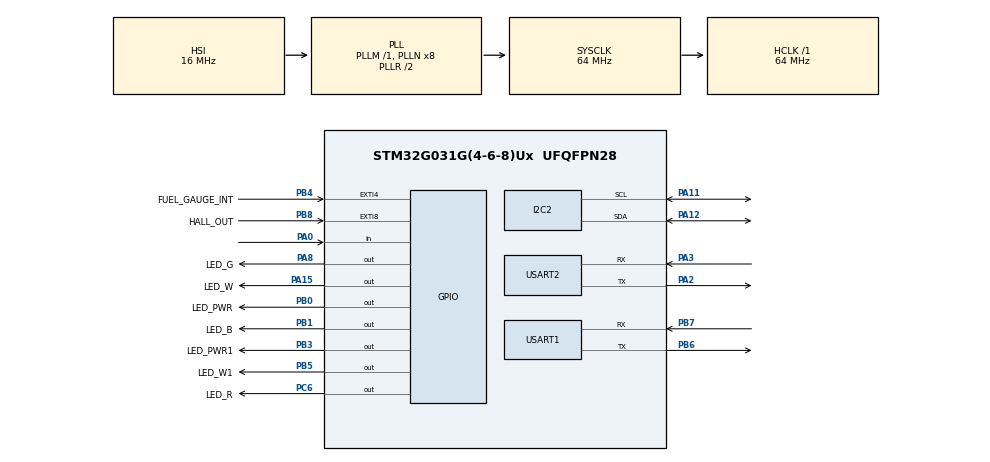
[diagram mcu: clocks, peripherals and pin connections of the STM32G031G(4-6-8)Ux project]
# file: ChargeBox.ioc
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I2C2.Timing=0x10707DBC
Mcu.Family=STM32G0
Mcu.Name=STM32G031G(4-6-8)Ux
Mcu.Package=UFQFPN28
NVIC.EXTI4_15_IRQn=true\:0\:0\:false\:false\:true\:true\:true
NVIC.TIM2_IRQn=true\:0\:0\:false\:false\:true\:true\:true
NVIC.USART2_IRQn=true\:0\:0\:false\:false\:true\:true\:true
PA0.GPIO_PuPd=GPIO_PULLUP
PA0.Signal=GPIO_Input
PA11\ [PA9].GPIO_Pu=GPIO_PULLUP
PA11\ [PA9].Mode=I2C
PA11\ [PA9].Signal=I2C2_SCL
PA12\ [PA10].GPIO_Pu=GPIO_PULLUP
PA12\ [PA10].Mode=I2C
PA12\ [PA10].Signal=I2C2_SDA
PA13.Mode=Serial_Wire
PA13.Signal=SYS_SWDIO
PA14-BOOT0.Mode=Serial_Wire
PA14-BOOT0.Signal=SYS_SWCLK
PA15.GPIO_Label=LED_W
PA15.PinState=GPIO_PIN_SET
PA15.Signal=GPIO_Output
PA2.GPIO_PuPd=GPIO_PULLUP
PA2.Mode=Asynchronous
PA2.Signal=USART2_TX
PA3.GPIO_PuPd=GPIO_PULLUP
PA3.Mode=Asynchronous
PA3.Signal=USART2_RX
PA8.GPIO_Label=LED_G
PA8.PinState=GPIO_PIN_SET
PA8.Signal=GPIO_Output
PB0.GPIO_Label=LED_PWR
PB0.GPIO_PuPd=GPIO_PULLUP
PB0.PinState=GPIO_PIN_SET
PB0.Signal=GPIO_Output
PB1.GPIO_Label=LED_B
PB1.PinState=GPIO_PIN_SET
PB1.Signal=GPIO_Output
PB3.GPIO_Label=LED_PWR1
PB3.GPIO_PuPd=GPIO_PULLUP
PB3.PinState=GPIO_PIN_SET
PB3.Signal=GPIO_Output
PB4.GPIO_Label=FUEL_GAUGE_INT
PB4.GPIO_ModeDefaultEXTI=GPIO_MODE_IT_RISING_FALLING
PB4.GPIO_PuPd=GPIO_PULLUP
PB4.Signal=GPXTI4
PB5.GPIO_Label=LED_W1
PB5.PinState=GPIO_PIN_SET
PB5.Signal=GPIO_Output
PB6.Mode=Asynchronous
PB6.Signal=USART1_TX
PB7.Mode=Asynchronous
PB7.Signal=USART1_RX
PB8.GPIO_Label=HALL_OUT
PB8.GPIO_ModeDefaultEXTI=GPIO_MODE_IT_RISING_FALLING
PB8.Signal=GPXTI8
PC6.GPIO_Label=LED_R
PC6.PinState=GPIO_PIN_SET
PC6.Signal=GPIO_Output
ProjectManager.HeapSize=0x200
ProjectManager.StackSize=0x400
ProjectManager.TargetToolchain=MDK-ARM V5.32
RCC.ADCFreq_Value=64000000
RCC.AHBFreq_Value=64000000
RCC.CortexFreq_Value=64000000
RCC.EXTERNAL_CLOCK_VALUE=12288000
RCC.HCLKFreq_Value=64000000
RCC.HSE_VALUE=8000000
RCC.HSI_VALUE=16000000
RCC.LSE_VALUE=32768
RCC.SYSCLKFreq_VALUE=64000000
RCC.SYSCLKSource=RCC_SYSCLKSOURCE_PLLCLK
RCC.VCOOutputFreq_Value=128000000
TIM2.AutoReloadPreload=TIM_AUTORELOAD_PRELOAD_ENABLE
TIM2.Period=9
TIM2.Prescaler=63999
USART1.VirtualMode-Asynchronous=VM_ASYNC
USART2.VirtualMode-Asynchronous=VM_ASYNC
VP_TIM2_VS_ClockSourceINT.Mode=Internal
board=custom

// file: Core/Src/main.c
/* USER CODE BEGIN Header */
/**
  ******************************************************************************
  * @file           : main.c
  * @brief          : Main program body
  ******************************************************************************
  * @attention
  *
  * <h2><center>&copy; Copyright (c) 2025 STMicroelectronics.
  * All rights reserved.</center></h2>
  *
  * This software component is licensed by ST under BSD 3-Clause license,
  * the "License"; You may not use this file except in compliance with the
  * License. You may obtain a copy of the License at:
  *                        opensource.org/licenses/BSD-3-Clause
  *
  ******************************************************************************
  */
/* USER CODE END Header */
#include "main.h"
#include "i2c.h"
#include "tim.h"
#include "usart.h"
#include "gpio.h"

/* USER CODE BEGIN Includes */
#include "common.h"
#include "usart.h"
#include "hall.h"
#include <stdio.h>
/* USER CODE END Includes */

void SystemClock_Config(void);

int main(void)
{

  /* MCU Configuration--------------------------------------------------------*/

  /* Reset of all peripherals, Initializes the Flash interface and the Systick. */
  HAL_Init();

  /* Configure the system clock */
  SystemClock_Config();

  /* USER CODE BEGIN SysInit */
  HAL_Delay(5000);
  /* USER CODE END SysInit */

  /* Initialize all configured peripherals */
  MX_GPIO_Init();
  MX_USART1_UART_Init();
  MX_TIM2_Init();
  MX_I2C2_Init();
  MX_USART2_UART_Init();
  /* USER CODE BEGIN 2 */
  project_version_printf();

  if (HAL_TIM_Base_Start_IT(&htim2) != HAL_OK){
    /* Starting Error */
    Error_Handler();
  }

  uart_process_init();

  extern int32_t rt9426_main(void);
  extern void RT9426_Update_Info(void);

  rt9426_main();
  RT9426_Update_Info();

  // Master_Glass_Plug_In_Detection_L();
  // Master_Glass_Plug_Out_Detection_L();
  // Master_Intb_To_VoutR_Uart();
  /* USER CODE END 2 */

  /* Infinite loop */
  while (1)
  {

    /* USER CODE BEGIN 3 */
    uart_process_analysis(&uart);
    // uart_send_buf(2, 0xff, 0xa0);
    // HAL_Delay(1000);
    hall_process(&hall, NULL);
    stm32_heartrate(100, heartrate_callback);
  }
  /* USER CODE END 3 */
}

void SystemClock_Config(void)
{
  RCC_OscInitTypeDef RCC_OscInitStruct = {0};
  RCC_ClkInitTypeDef RCC_ClkInitStruct = {0};
  RCC_PeriphCLKInitTypeDef PeriphClkInit = {0};

  /** Configure the main internal regulator output voltage
  */
  HAL_PWREx_ControlVoltageScaling(PWR_REGULATOR_VOLTAGE_SCALE1);
  /** Initializes the RCC Oscillators according to the specified parameters
  * in the RCC_OscInitTypeDef structure.
  */
  RCC_OscInitStruct.OscillatorType = RCC_OSCILLATORTYPE_HSI;
  RCC_OscInitStruct.HSIState = RCC_HSI_ON;
  RCC_OscInitStruct.HSIDiv = RCC_HSI_DIV1;
  RCC_OscInitStruct.HSICalibrationValue = RCC_HSICALIBRATION_DEFAULT;
  RCC_OscInitStruct.PLL.PLLState = RCC_PLL_ON;
  RCC_OscInitStruct.PLL.PLLSource = RCC_PLLSOURCE_HSI;
  RCC_OscInitStruct.PLL.PLLM = RCC_PLLM_DIV1;
  RCC_OscInitStruct.PLL.PLLN = 8;
  RCC_OscInitStruct.PLL.PLLP = RCC_PLLP_DIV2;
  RCC_OscInitStruct.PLL.PLLQ = RCC_PLLQ_DIV2;
  RCC_OscInitStruct.PLL.PLLR = RCC_PLLR_DIV2;
  if (HAL_RCC_OscConfig(&RCC_OscInitStruct) != HAL_OK)
  {
    Error_Handler();
  }
  /** Initializes the CPU, AHB and APB buses clocks
  */
  RCC_ClkInitStruct.ClockType = RCC_CLOCKTYPE_HCLK|RCC_CLOCKTYPE_SYSCLK
                              |RCC_CLOCKTYPE_PCLK1;
  RCC_ClkInitStruct.SYSCLKSource = RCC_SYSCLKSOURCE_PLLCLK;
  RCC_ClkInitStruct.AHBCLKDivider = RCC_SYSCLK_DIV1;
  RCC_ClkInitStruct.APB1CLKDivider = RCC_HCLK_DIV1;

  if (HAL_RCC_ClockConfig(&RCC_ClkInitStruct, FLASH_LATENCY_2) != HAL_OK)
  {
    Error_Handler();
  }
  /** Initializes the peripherals clocks
  */
  PeriphClkInit.PeriphClockSelection = RCC_PERIPHCLK_USART1;
  PeriphClkInit.Usart1ClockSelection = RCC_USART1CLKSOURCE_PCLK1;
  if (HAL_RCCEx_PeriphCLKConfig(&PeriphClkInit) != HAL_OK)
  {
    Error_Handler();
  }
}

void Error_Handler(void)
{
  /* USER CODE BEGIN Error_Handler_Debug */
  /* User can add his own implementation to report the HAL error return state */
  __disable_irq();
  while (1)
  {
      printf("%s\r\n", __func__);
  }
  /* USER CODE END Error_Handler_Debug */
}

/************************ (C) COPYRIGHT STMicroelectronics *****END OF FILE****/
